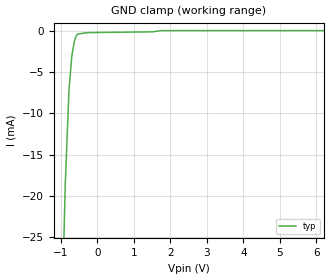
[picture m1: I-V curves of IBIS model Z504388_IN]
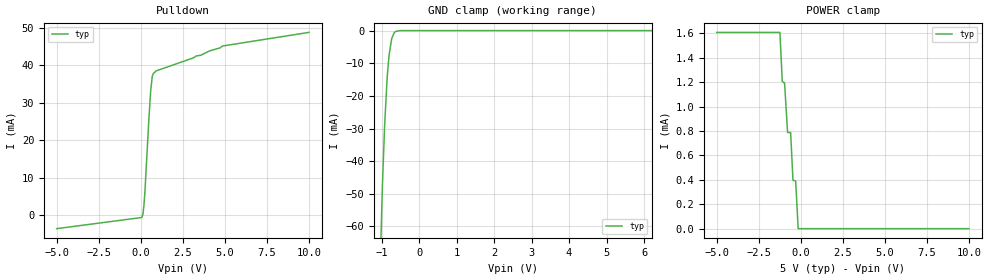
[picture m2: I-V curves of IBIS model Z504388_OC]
| YOU ARE ONLY AUTHORIZED TO USE THIS SOFTWARE
| ACCORDING TO LICENSOR'S LICENSE RESTRICTIONS.
[IBIS Ver] 3.1
[File Name] sn54ls156j.ibs
[File Rev] 2.0
[Source] Measured and created by ICX Technology
[Date] Friday 7/14/00 9:08:13 AM
[Copyright]
| (C) COPYRIGHT 1993-2000
| MENTOR GRAPHICS CORPORATION
| ICX STANDARD LIBRARY, ICX PROJECT MODELING,
| ICX CUSTOM MODELING, ICX VENDOR MODEL
| ALL RIGHTS RESERVED.
| THE FOLLOWING ARE TRADEMARKS OR SERVICE MARKS OF
| MENTOR GRAPHICS CORPORATION:ICX (R), ICX STANDARD
| LIBRARY(R), ICX PROJECT MODELING(R), ICX CUSTOM
| MODELING(R), qualityIBIS(TM), MODELVIEWER(TM),
| AND MODELEDITOR(TM)
| ALL COPIES OF SOFTWARE, INCLUDING BUT NOT LIMITED TO
| ANY MODIFICATIONS, ENHANCEMENTS OR DERIVATIVE WORKS,
| MUST CONTAIN ALL MENTOR GRAPHICS CORPORATION'S
| NOTICES AND LEGENDS, INCLUDING THOSE EMBEDDED IN
| SOFTWARE AND THOSE AFFIXED TO SOFTWARE MEDIUM
| AND CONTAINER, AS RECEIVED FROM MENTOR GRAPHICS
| CORPORATION.
|  ZAP Model Builder 2.7
[Component] SN54LS156J
[Manufacturer] OnSemiconductor
[Package]
| variable   typ   min   max
R_pkg  .212ohms NA NA
L_pkg  4.758nH NA NA
C_pkg  1.944pF NA NA
[Pin] signal_name  model_name  R_pin  L_pin C_pin
1 C1 Z504388_IN .224 7.258n 2.683p
2 _G1 Z504388_IN .216 5.258n 2.19p
3 B Z504388_IN .208 3.758n 1.697p
4 Y3A Z504388_OC .2 2.758n 1.204p
5 Y2A Z504388_OC .2 2.758n 1.204p
6 Y1A Z504388_OC .208 3.758n 1.697p
7 Y0A Z504388_OC .216 5.258n 2.19p
8 GND GND .224 7.258n 2.683p
9 Y0B Z504388_OC .224 7.258n 2.683p
10 Y1B Z504388_OC .216 5.258n 2.19p
11 Y2B Z504388_OC .208 3.758n 1.697p
12 Y3B Z504388_OC .2 2.758n 1.204p
13 A Z504388_IN .2 2.758n 1.204p
14 _G2 Z504388_IN .208 3.758n 1.697p
15 _C2 Z504388_IN .216 5.258n 2.19p
16 VCC POWER .224 7.258n 2.683p
| Models and submodels in the file (2): Z504388_IN (Input), Z504388_OC (Open_sink)
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| (C) COPYRIGHT 1993-2000
| MENTOR GRAPHICS CORPORATION
| ICX STANDARD LIBRARY, ICX PROJECT MODELING,
| ICX CUSTOM MODELING, ICX VENDOR MODEL
| ALL RIGHTS RESERVED.
| THE FOLLOWING ARE TRADEMARKS OR SERVICE MARKS OF
| MENTOR GRAPHICS CORPORATION:ICX (R), ICX STANDARD
| LIBRARY(R), ICX PROJECT MODELING(R), ICX CUSTOM
| MODELING(R), qualityIBIS(TM), MODELVIEWER(TM),
| AND MODELEDITOR(TM)
| ALL COPIES OF SOFTWARE, INCLUDING BUT NOT LIMITED TO
| ANY MODIFICATIONS, ENHANCEMENTS OR DERIVATIVE WORKS,
| MUST CONTAIN ALL MENTOR GRAPHICS CORPORATION'S
| NOTICES AND LEGENDS, INCLUDING THOSE EMBEDDED IN
| SOFTWARE AND THOSE AFFIXED TO SOFTWARE MEDIUM
| AND CONTAINER, AS RECEIVED FROM MENTOR GRAPHICS
| CORPORATION.
| Model Application Version 1.89 2/18/99.
[Model] Z504388_IN
Model_type Input
Vinl = 800.0mV
Vinh = 2.000V
C_comp 4.000pF NA NA
| variable typ   min   max
[Voltage Range] 5.000V NA NA
[GND Clamp Reference] 0.000V NA NA
[POWER Clamp Reference] 5.000V NA NA
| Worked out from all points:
|   GND clamp passes 1 mA (typ) near -0.61 V on its own axis
[GND Clamp]
-5V       -761.5mA   NA         NA
-878.9mV  -18.6mA    NA         NA
-775.9mV  -7.142mA   NA         NA
-698.3mV  -3.059mA   NA         NA
-633.1mV  -1.364mA   NA         NA
-600.5mV  -862.4uA   NA         NA
-546.7mV  -437.5uA   NA         NA
-273.4mV  -255.1uA   NA         NA
1.524V    -156.9uA   NA         NA
1.743V    -5.146uA   NA         NA
10V       -5.146uA   NA         NA
[POWER Clamp]
-5V       0A         NA         NA
10V       0A         NA         NA
| (C) COPYRIGHT 1993-2000
| MENTOR GRAPHICS CORPORATION
| ICX STANDARD LIBRARY, ICX PROJECT MODELING,
| ICX CUSTOM MODELING, ICX VENDOR MODEL
| ALL RIGHTS RESERVED.
| THE FOLLOWING ARE TRADEMARKS OR SERVICE MARKS OF
| MENTOR GRAPHICS CORPORATION:ICX (R), ICX STANDARD
| LIBRARY(R), ICX PROJECT MODELING(R), ICX CUSTOM
| MODELING(R), qualityIBIS(TM), MODELVIEWER(TM),
| AND MODELEDITOR(TM)
| ALL COPIES OF SOFTWARE, INCLUDING BUT NOT LIMITED TO
| ANY MODIFICATIONS, ENHANCEMENTS OR DERIVATIVE WORKS,
| MUST CONTAIN ALL MENTOR GRAPHICS CORPORATION'S
| NOTICES AND LEGENDS, INCLUDING THOSE EMBEDDED IN
| SOFTWARE AND THOSE AFFIXED TO SOFTWARE MEDIUM
| AND CONTAINER, AS RECEIVED FROM MENTOR GRAPHICS
| CORPORATION.
| Model Application Version 1.89 2/18/99.
[Model] Z504388_OC
Model_type Open_sink
Vref=5.000V
Rref=2.001kohms
Cref=15.00pF
Vmeas=1.300V
C_comp 8.000pF NA NA
| variable typ   min   max
[Voltage Range] 5.000V NA NA
[POWER Clamp Reference] 5.000V NA NA
[Pullup Reference] 5.000V NA NA
[Pulldown Reference] 0.000V NA NA
[GND Clamp Reference] 0.000V NA NA
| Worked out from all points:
|   slope of the pulldown table from 0 to 0.75 V, typ, clamps not added: 19.5 ohm
|   GND clamp passes 1 mA (typ) near -0.67 V on its own axis
|   POWER clamp passes 1 mA (typ) near -0.87 V on its own axis
[GND Clamp]
-5V       -2.096A    NA         NA
-1.113V   -103.7mA   NA         NA
-975.2mV  -47.1mA    NA         NA
-916.5mV  -28.85mA   NA         NA
-849.6mV  -14.42mA   NA         NA
-798.3mV  -7.444mA   NA         NA
-726.4mV  -2.383mA   NA         NA
-664.1mV  -720.4uA   NA         NA
-625mV    -268.4uA   NA         NA
-500mV    0A         NA         NA
10V       0A         NA         NA
[Pulldown]
-5V       -3.623mA   NA         NA
87.89mV   -402.9uA   NA         NA
131.8mV   215.5uA    NA         NA
186.8mV   2.423mA    NA         NA
243.4mV   5.732mA    NA         NA
478.7mV   25.05mA    NA         NA
591.9mV   33.17mA    NA         NA
684.5mV   36.94mA    NA         NA
747.1mV   37.76mA    NA         NA
903.3mV   38.41mA    NA         NA
4.863V    45.07mA    NA         NA
10V       48.7mA     NA         NA
[POWER Clamp]
-5V       1.609mA    NA         NA
-1.237V   1.609mA    NA         NA
-1.098V   1.207mA    NA         NA
-961mV    1.194mA    NA         NA
-781mV    788.4uA    NA         NA
-601mV    788.4uA    NA         NA
-461mV    397.4uA    NA         NA
-301mV    390.5uA    NA         NA
-150.5mV  0A         NA         NA
10V       0A         NA         NA
[Ramp]
| variable typ min max
dV/dt_r 2.761/11.91n NA NA
dV/dt_f 2.761/4.977n NA NA
R_load = 250.0Ohms
